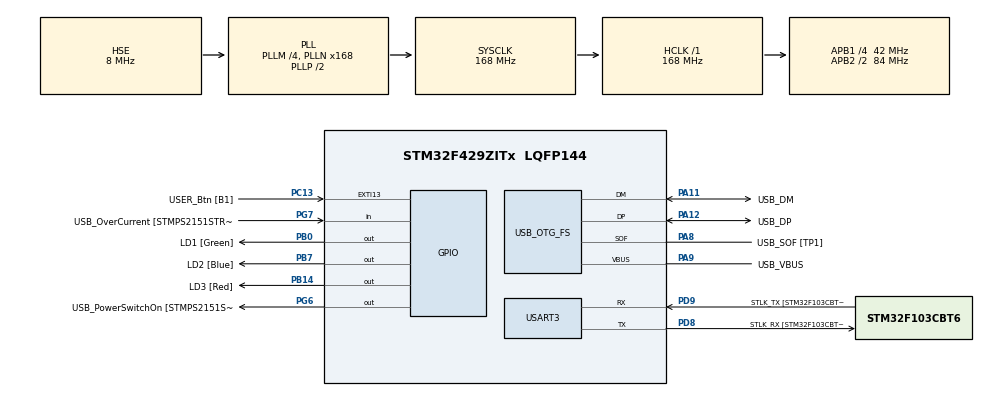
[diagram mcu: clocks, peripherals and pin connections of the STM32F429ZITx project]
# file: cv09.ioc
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Mcu.Family=STM32F4
Mcu.Name=STM32F429ZITx
Mcu.Package=LQFP144
NVIC.OTG_FS_IRQn=true\:0\:0\:false\:false\:true\:false\:true
NVIC.PriorityGroup=NVIC_PRIORITYGROUP_4
PA1.GPIO_Label=RMII_REF_CLK [LAN8742A-CZ-TR_REFCLK0]
PA1.Signal=ETH_REF_CLK
PA10.GPIO_Label=USB_ID
PA10.Signal=USB_OTG_FS_ID
PA11.GPIO_Label=USB_DM
PA11.Mode=Device_Only
PA11.Signal=USB_OTG_FS_DM
PA12.GPIO_Label=USB_DP
PA12.Mode=Device_Only
PA12.Signal=USB_OTG_FS_DP
PA13.GPIO_Label=TMS
PA13.Mode=Serial_Wire
PA13.Signal=SYS_JTMS-SWDIO
PA14.GPIO_Label=TCK
PA14.Mode=Serial_Wire
PA14.Signal=SYS_JTCK-SWCLK
PA2.GPIO_Label=RMII_MDIO [LAN8742A-CZ-TR_MDIO]
PA2.Signal=ETH_MDIO
PA7.GPIO_Label=RMII_CRS_DV [LAN8742A-CZ-TR_CRS_DV]
PA7.Signal=ETH_CRS_DV
PA8.GPIO_Label=USB_SOF [TP1]
PA8.Mode=Activate_SOF_FS
PA8.Signal=USB_OTG_FS_SOF
PA9.GPIO_Label=USB_VBUS
PA9.Mode=Activate_VBUS
PA9.Signal=USB_OTG_FS_VBUS
PB0.GPIO_Label=LD1 [Green]
PB0.Signal=GPIO_Output
PB13.GPIO_Label=RMII_TXD1 [LAN8742A-CZ-TR_TXD1]
PB13.Signal=ETH_TXD1
PB14.GPIO_Label=LD3 [Red]
PB14.Signal=GPIO_Output
PB7.GPIO_Label=LD2 [Blue]
PB7.Signal=GPIO_Output
PC1.GPIO_Label=RMII_MDC [LAN8742A-CZ-TR_MDC]
PC1.Signal=ETH_MDC
PC13.GPIO_Label=USER_Btn [B1]
PC13.Signal=GPXTI13
PC14/OSC32_IN.Mode=LSE-External-Oscillator
PC14/OSC32_IN.Signal=RCC_OSC32_IN
PC15/OSC32_OUT.Mode=LSE-External-Oscillator
PC15/OSC32_OUT.Signal=RCC_OSC32_OUT
PC4.GPIO_Label=RMII_RXD0 [LAN8742A-CZ-TR_RXD0]
PC4.Signal=ETH_RXD0
PC5.GPIO_Label=RMII_RXD1 [LAN8742A-CZ-TR_RXD1]
PC5.Signal=ETH_RXD1
PD8.GPIO_Label=STLK_RX [STM32F103CBT6_PA3]
PD8.Mode=Asynchronous
PD8.Signal=USART3_TX
PD9.GPIO_Label=STLK_TX [STM32F103CBT6_PA2]
PD9.Mode=Asynchronous
PD9.Signal=USART3_RX
PG11.GPIO_Label=RMII_TX_EN [LAN8742A-CZ-TR_TXEN]
PG11.Signal=ETH_TX_EN
PG13.GPIO_Label=RMII_TXD0 [LAN8742A-CZ-TR_TXD0]
PG13.Signal=ETH_TXD0
PG6.GPIO_Label=USB_PowerSwitchOn [STMPS2151STR_EN]
PG6.Signal=GPIO_Output
PG7.GPIO_Label=USB_OverCurrent [STMPS2151STR_FAULT]
PG7.Signal=GPIO_Input
PH0/OSC_IN.GPIO_Label=MCO [STM32F103CBT6_PA8]
PH0/OSC_IN.Mode=HSE-External-Clock-Source
PH0/OSC_IN.Signal=RCC_OSC_IN
PH1/OSC_OUT.Mode=HSE-External-Clock-Source
PH1/OSC_OUT.Signal=RCC_OSC_OUT
ProjectManager.HeapSize=0x200
ProjectManager.StackSize=0x400
ProjectManager.TargetToolchain=STM32CubeIDE
RCC.48MHZClocksFreq_Value=48000000
RCC.AHBFreq_Value=168000000
RCC.APB1CLKDivider=RCC_HCLK_DIV4
RCC.APB1Freq_Value=42000000
RCC.APB1TimFreq_Value=84000000
RCC.APB2CLKDivider=RCC_HCLK_DIV2
RCC.APB2Freq_Value=84000000
RCC.APB2TimCLKDivider=2
RCC.APB2TimFreq_Value=168000000
RCC.CortexFreq_Value=168000000
RCC.HCLKFreq_Value=168000000
RCC.HSE_VALUE=8000000
RCC.HSI_VALUE=16000000
RCC.PLLM=4
RCC.PLLMUL=RCC_PLL_MUL9
RCC.PLLN=168
RCC.PLLQ=7
RCC.PRESCALERUSB=RCC_USBCLKSOURCE_PLL_DIV1_5
RCC.SYSCLKFreq_VALUE=168000000
RCC.SYSCLKSource=RCC_SYSCLKSOURCE_PLLCLK
RCC.SYSCLKSourceVirtual=RCC_SYSCLKSOURCE_PLLCLK
RCC.USBFreq_Value=48000000
RCC.VCOOutputFreq_Value=336000000
USART3.VirtualMode=VM_ASYNC
USB_DEVICE.CLASS_NAME_FS=HID
USB_DEVICE.VirtualMode-HID_FS=Hid
USB_DEVICE.VirtualModeFS=Hid_FS
USB_OTG_FS.VirtualMode=Device_Only
VP_USB_DEVICE_VS_USB_DEVICE_HID_FS.Mode=HID_FS
board=NUCLEO-F429ZI

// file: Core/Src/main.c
/* USER CODE BEGIN Header */
/**
  ******************************************************************************
  * @file           : main.c
  * @brief          : Main program body
  ******************************************************************************
  * @attention
  *
  * <h2><center>&copy; Copyright (c) 2020 STMicroelectronics.
  * All rights reserved.</center></h2>
  *
  * This software component is licensed by ST under Ultimate Liberty license
  * SLA0044, the "License"; You may not use this file except in compliance with
  * the License. You may obtain a copy of the License at:
  *                             www.st.com/SLA0044
  *
  ******************************************************************************
  */
/* USER CODE END Header */
#include "main.h"
#include "usb_device.h"

/* USER CODE BEGIN Includes */
#include "usbd_hid.h"
#include <stdbool.h>
#include <math.h>

/* USER CODE END Includes */

UART_HandleTypeDef huart3;

/* USER CODE BEGIN PV */

extern USBD_HandleTypeDef hUsbDeviceFS;

/* USER CODE END PV */

void SystemClock_Config(void);
static void MX_GPIO_Init(void);
static void MX_USART3_UART_Init(void);
/* USER CODE BEGIN PFP */

void step(int8_t x, int8_t y, bool  btn)
{
	uint8_t buff [4];

	if(btn == 0) buff[0] = 0x00;
	else buff[0] = 0x01;

	buff[1] = (int8_t)(x);
	buff[2] = (int8_t)(y);
	buff[3] = 0;
	USBD_HID_SendReport(&hUsbDeviceFS, buff, sizeof(buff));
	HAL_Delay(USBD_HID_GetPollingInterval(&hUsbDeviceFS));
}

void monstrosity(uint8_t radius)
{
	for(uint16_t angle = 0; angle < 360; angle++)
	{
		static int8_t x = 0;
		static int8_t y = 0;
		float sx = radius*sin(angle);
		float sy = radius*cos(angle);

		int8_t dx = x - sx;
		int8_t dy = y - sy;

		step(dx, dy, 1);
		x = dx;
		y = dy;
	}
}

void dis_monstrosity(uint8_t radius)
{
	for(uint16_t angle = 0; angle < 120; angle++)
	{
		static int8_t x = 0;
		static int8_t y = 0;
		float sx = radius*sin(angle);
		float sy = radius*cos(angle);

		int8_t dx = x - sx;
		int8_t dy = y - sy;

		step(dx, dy, 1);
		x = dx;
		y = dy;
	}
}

void not_smile()
{
	monstrosity(60);
	step(-90, 30, 0);
	monstrosity(20);
	step(60, 0, 0);
	monstrosity(20);
	step(-30, -10, 0);
	step(0, -20, 1);
	step(20, -10, 0);
	dis_monstrosity(120);
}

/* USER CODE END PFP */

int main(void)
{

  /* MCU Configuration--------------------------------------------------------*/

  /* Reset of all peripherals, Initializes the Flash interface and the Systick. */
  HAL_Init();

  /* Configure the system clock */
  SystemClock_Config();

  /* Initialize all configured peripherals */
  MX_GPIO_Init();
  MX_USART3_UART_Init();
  MX_USB_DEVICE_Init();

  /* Infinite loop */
  /* USER CODE BEGIN WHILE */
  while (1)
  {

	  do {HAL_Delay(40);} while(!HAL_GPIO_ReadPin(USER_Btn_GPIO_Port, USER_Btn_Pin));
	  not_smile();

	  /*
	  uint8_t buff[4];
	  buff[0] = 0x01;         // stiskni leve tlacitko
	  buff[1] = (int8_t)(10); // posun X +10
	  buff[2] = (int8_t)(-3); // posun Y -3
	  buff[3] = 0;            // bez scrollu
	  USBD_HID_SendReport(&hUsbDeviceFS, buff, sizeof(buff));
	  HAL_Delay(USBD_HID_GetPollingInterval(&hUsbDeviceFS));
	  */

    /* USER CODE END WHILE */

  }
}

void SystemClock_Config(void)
{
  RCC_OscInitTypeDef RCC_OscInitStruct = {0};
  RCC_ClkInitTypeDef RCC_ClkInitStruct = {0};

  /** Configure the main internal regulator output voltage
  */
  __HAL_RCC_PWR_CLK_ENABLE();
  __HAL_PWR_VOLTAGESCALING_CONFIG(PWR_REGULATOR_VOLTAGE_SCALE1);
  /** Initializes the RCC Oscillators according to the specified parameters
  * in the RCC_OscInitTypeDef structure.
  */
  RCC_OscInitStruct.OscillatorType = RCC_OSCILLATORTYPE_HSE;
  RCC_OscInitStruct.HSEState = RCC_HSE_BYPASS;
  RCC_OscInitStruct.PLL.PLLState = RCC_PLL_ON;
  RCC_OscInitStruct.PLL.PLLSource = RCC_PLLSOURCE_HSE;
  RCC_OscInitStruct.PLL.PLLM = 4;
  RCC_OscInitStruct.PLL.PLLN = 168;
  RCC_OscInitStruct.PLL.PLLP = RCC_PLLP_DIV2;
  RCC_OscInitStruct.PLL.PLLQ = 7;
  if (HAL_RCC_OscConfig(&RCC_OscInitStruct) != HAL_OK)
  {
    Error_Handler();
  }
  /** Initializes the CPU, AHB and APB buses clocks
  */
  RCC_ClkInitStruct.ClockType = RCC_CLOCKTYPE_HCLK|RCC_CLOCKTYPE_SYSCLK
                              |RCC_CLOCKTYPE_PCLK1|RCC_CLOCKTYPE_PCLK2;
  RCC_ClkInitStruct.SYSCLKSource = RCC_SYSCLKSOURCE_PLLCLK;
  RCC_ClkInitStruct.AHBCLKDivider = RCC_SYSCLK_DIV1;
  RCC_ClkInitStruct.APB1CLKDivider = RCC_HCLK_DIV4;
  RCC_ClkInitStruct.APB2CLKDivider = RCC_HCLK_DIV2;

  if (HAL_RCC_ClockConfig(&RCC_ClkInitStruct, FLASH_LATENCY_5) != HAL_OK)
  {
    Error_Handler();
  }
}

static void MX_USART3_UART_Init(void)
{

  huart3.Instance = USART3;
  huart3.Init.BaudRate = 115200;
  huart3.Init.WordLength = UART_WORDLENGTH_8B;
  huart3.Init.StopBits = UART_STOPBITS_1;
  huart3.Init.Parity = UART_PARITY_NONE;
  huart3.Init.Mode = UART_MODE_TX_RX;
  huart3.Init.HwFlowCtl = UART_HWCONTROL_NONE;
  huart3.Init.OverSampling = UART_OVERSAMPLING_16;
  if (HAL_UART_Init(&huart3) != HAL_OK)
  {
    Error_Handler();
  }

}

static void MX_GPIO_Init(void)
{
  GPIO_InitTypeDef GPIO_InitStruct = {0};

  /* GPIO Ports Clock Enable */
  __HAL_RCC_GPIOC_CLK_ENABLE();
  __HAL_RCC_GPIOH_CLK_ENABLE();
  __HAL_RCC_GPIOA_CLK_ENABLE();
  __HAL_RCC_GPIOB_CLK_ENABLE();
  __HAL_RCC_GPIOD_CLK_ENABLE();
  __HAL_RCC_GPIOG_CLK_ENABLE();

  /*Configure GPIO pin Output Level */
  HAL_GPIO_WritePin(GPIOB, LD1_Pin|LD3_Pin|LD2_Pin, GPIO_PIN_RESET);

  /*Configure GPIO pin Output Level */
  HAL_GPIO_WritePin(USB_PowerSwitchOn_GPIO_Port, USB_PowerSwitchOn_Pin, GPIO_PIN_RESET);

  /*Configure GPIO pin : USER_Btn_Pin */
  GPIO_InitStruct.Pin = USER_Btn_Pin;
  GPIO_InitStruct.Mode = GPIO_MODE_IT_RISING;
  GPIO_InitStruct.Pull = GPIO_NOPULL;
  HAL_GPIO_Init(USER_Btn_GPIO_Port, &GPIO_InitStruct);

  /*Configure GPIO pins : RMII_MDC_Pin RMII_RXD0_Pin RMII_RXD1_Pin */
  GPIO_InitStruct.Pin = RMII_MDC_Pin|RMII_RXD0_Pin|RMII_RXD1_Pin;
  GPIO_InitStruct.Mode = GPIO_MODE_AF_PP;
  GPIO_InitStruct.Pull = GPIO_NOPULL;
  GPIO_InitStruct.Speed = GPIO_SPEED_FREQ_VERY_HIGH;
  GPIO_InitStruct.Alternate = GPIO_AF11_ETH;
  HAL_GPIO_Init(GPIOC, &GPIO_InitStruct);

  /*Configure GPIO pins : RMII_REF_CLK_Pin RMII_MDIO_Pin RMII_CRS_DV_Pin */
  GPIO_InitStruct.Pin = RMII_REF_CLK_Pin|RMII_MDIO_Pin|RMII_CRS_DV_Pin;
  GPIO_InitStruct.Mode = GPIO_MODE_AF_PP;
  GPIO_InitStruct.Pull = GPIO_NOPULL;
  GPIO_InitStruct.Speed = GPIO_SPEED_FREQ_VERY_HIGH;
  GPIO_InitStruct.Alternate = GPIO_AF11_ETH;
  HAL_GPIO_Init(GPIOA, &GPIO_InitStruct);

  /*Configure GPIO pins : LD1_Pin LD3_Pin LD2_Pin */
  GPIO_InitStruct.Pin = LD1_Pin|LD3_Pin|LD2_Pin;
  GPIO_InitStruct.Mode = GPIO_MODE_OUTPUT_PP;
  GPIO_InitStruct.Pull = GPIO_NOPULL;
  GPIO_InitStruct.Speed = GPIO_SPEED_FREQ_LOW;
  HAL_GPIO_Init(GPIOB, &GPIO_InitStruct);

  /*Configure GPIO pin : RMII_TXD1_Pin */
  GPIO_InitStruct.Pin = RMII_TXD1_Pin;
  GPIO_InitStruct.Mode = GPIO_MODE_AF_PP;
  GPIO_InitStruct.Pull = GPIO_NOPULL;
  GPIO_InitStruct.Speed = GPIO_SPEED_FREQ_VERY_HIGH;
  GPIO_InitStruct.Alternate = GPIO_AF11_ETH;
  HAL_GPIO_Init(RMII_TXD1_GPIO_Port, &GPIO_InitStruct);

  /*Configure GPIO pin : USB_PowerSwitchOn_Pin */
  GPIO_InitStruct.Pin = USB_PowerSwitchOn_Pin;
  GPIO_InitStruct.Mode = GPIO_MODE_OUTPUT_PP;
  GPIO_InitStruct.Pull = GPIO_NOPULL;
  GPIO_InitStruct.Speed = GPIO_SPEED_FREQ_LOW;
  HAL_GPIO_Init(USB_PowerSwitchOn_GPIO_Port, &GPIO_InitStruct);

  /*Configure GPIO pin : USB_OverCurrent_Pin */
  GPIO_InitStruct.Pin = USB_OverCurrent_Pin;
  GPIO_InitStruct.Mode = GPIO_MODE_INPUT;
  GPIO_InitStruct.Pull = GPIO_NOPULL;
  HAL_GPIO_Init(USB_OverCurrent_GPIO_Port, &GPIO_InitStruct);

  /*Configure GPIO pins : RMII_TX_EN_Pin RMII_TXD0_Pin */
  GPIO_InitStruct.Pin = RMII_TX_EN_Pin|RMII_TXD0_Pin;
  GPIO_InitStruct.Mode = GPIO_MODE_AF_PP;
  GPIO_InitStruct.Pull = GPIO_NOPULL;
  GPIO_InitStruct.Speed = GPIO_SPEED_FREQ_VERY_HIGH;
  GPIO_InitStruct.Alternate = GPIO_AF11_ETH;
  HAL_GPIO_Init(GPIOG, &GPIO_InitStruct);

}

void Error_Handler(void)
{
  __disable_irq();
  while (1)
  {
  }
}

/************************ (C) COPYRIGHT STMicroelectronics *****END OF FILE****/
